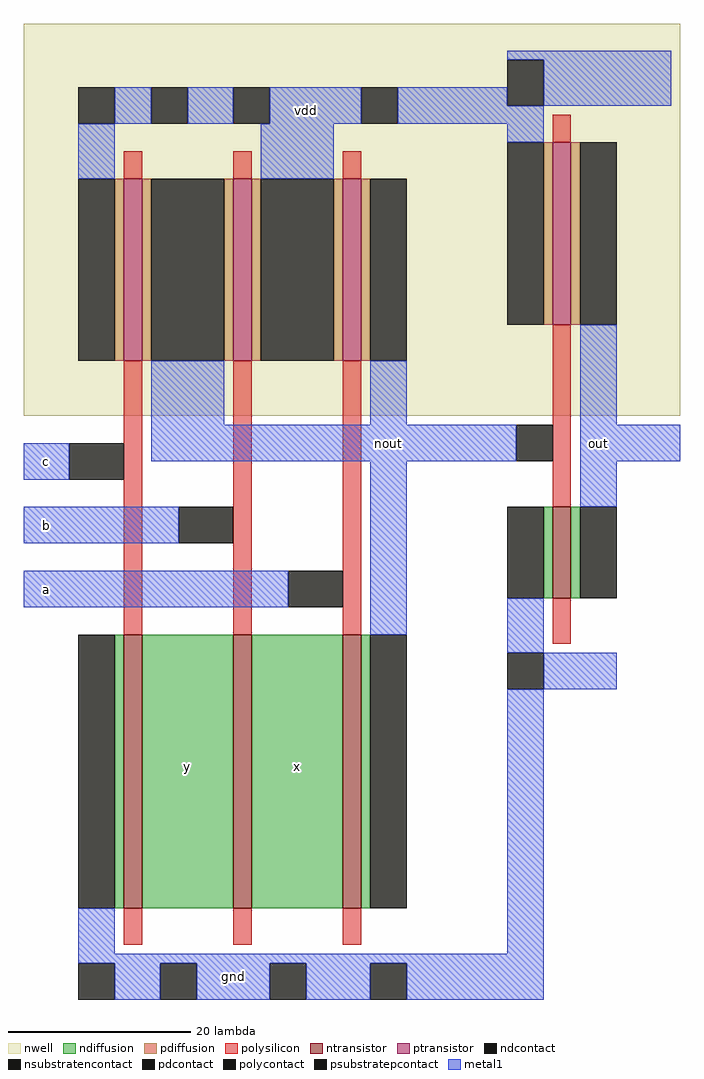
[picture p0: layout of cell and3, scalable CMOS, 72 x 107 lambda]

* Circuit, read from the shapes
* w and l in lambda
.subckt and3 a b c gnd nout out vdd x y
M1 y c gnd gnd nfet w=30 l=2
M2 x b y gnd nfet w=30 l=2
M3 nout a x gnd nfet w=30 l=2
M4 out nout gnd gnd nfet w=10 l=2
M5 nout c vdd vdd pfet w=20 l=2
M6 vdd b nout vdd pfet w=20 l=2
M7 nout a vdd vdd pfet w=20 l=2
M8 out nout vdd vdd pfet w=20 l=2
.ends

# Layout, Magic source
magic
tech scmos
<< nwell >>
rect -23 -17 49 26
<< ntransistor >>
rect 35 -37 37 -27
rect -12 -71 -10 -41
rect 0 -71 2 -41
rect 12 -71 14 -41
<< ptransistor >>
rect -12 -11 -10 9
rect 0 -11 2 9
rect 12 -11 14 9
rect 35 -7 37 13
<< ndiffusion >>
rect 34 -37 35 -27
rect 37 -37 38 -27
rect -13 -71 -12 -41
rect -10 -71 0 -41
rect 2 -71 12 -41
rect 14 -71 15 -41
<< pdiffusion >>
rect -13 -11 -12 9
rect -10 -11 -9 9
rect -1 -11 0 9
rect 2 -11 3 9
rect 11 -11 12 9
rect 14 -11 15 9
rect 34 -7 35 13
rect 37 -7 38 13
<< ndcontact >>
rect 30 -37 34 -27
rect 38 -37 42 -27
rect -17 -71 -13 -41
rect 15 -71 19 -41
<< pdcontact >>
rect -17 -11 -13 9
rect -9 -11 -1 9
rect 3 -11 11 9
rect 15 -11 19 9
rect 30 -7 34 13
rect 38 -7 42 13
<< psubstratepcontact >>
rect 30 -47 34 -43
rect -17 -81 -13 -77
rect -8 -81 -4 -77
rect 4 -81 8 -77
rect 15 -81 19 -77
<< nsubstratencontact >>
rect -17 15 -13 19
rect -9 15 -5 19
rect 0 15 4 19
rect 14 15 18 19
rect 30 17 34 22
<< polysilicon >>
rect 35 13 37 16
rect -12 9 -10 12
rect 0 9 2 12
rect 12 9 14 12
rect -12 -41 -10 -11
rect 0 -41 2 -11
rect 12 -41 14 -11
rect 35 -27 37 -7
rect 35 -42 37 -37
rect -12 -75 -10 -71
rect 0 -75 2 -71
rect 12 -75 14 -71
<< polycontact >>
rect -18 -24 -12 -20
rect -6 -31 0 -27
rect 6 -38 12 -34
rect 31 -22 35 -18
<< metal1 >>
rect 30 22 48 23
rect -13 15 -9 19
rect -5 15 0 19
rect 4 15 14 19
rect 18 17 30 19
rect 34 17 48 22
rect 18 15 34 17
rect -17 9 -13 15
rect 3 9 11 15
rect 30 13 34 15
rect -9 -18 -1 -11
rect 15 -18 19 -11
rect 38 -18 42 -7
rect -23 -24 -18 -20
rect -9 -22 31 -18
rect 38 -22 49 -18
rect -23 -31 -6 -27
rect -23 -38 6 -34
rect 15 -41 19 -22
rect 38 -27 42 -22
rect 30 -43 34 -37
rect 34 -47 42 -43
rect -17 -76 -13 -71
rect 30 -76 34 -47
rect -17 -77 34 -76
rect -13 -81 -8 -77
rect -4 -81 4 -77
rect 8 -81 15 -77
rect 19 -81 34 -77
<< labels >>
rlabel metal1 -21 -37 -20 -35 3 a
rlabel metal1 -21 -30 -20 -28 3 b
rlabel metal1 -21 -23 -20 -21 3 c
rlabel metal1 15 -22 19 -18 1 nout
rlabel metal1 -4 -81 4 -76 1 gnd
rlabel ndiffusion -8 -58 -2 -53 1 y
rlabel ndiffusion 4 -58 10 -53 1 x
rlabel metal1 5 14 11 19 1 vdd
rlabel metal1 38 -22 42 -18 1 out
<< end >>
